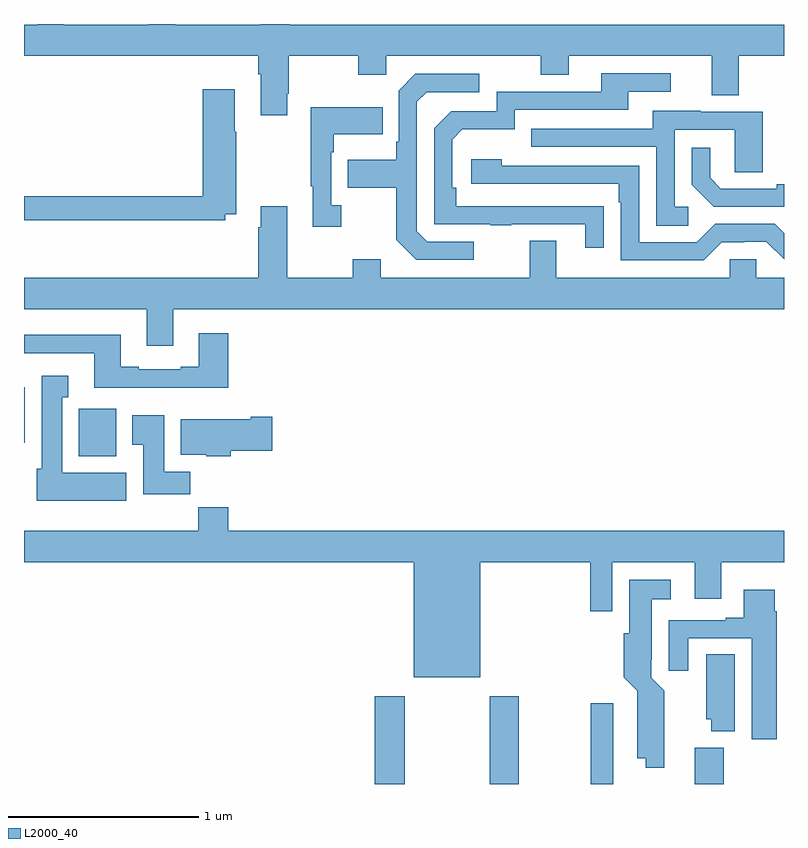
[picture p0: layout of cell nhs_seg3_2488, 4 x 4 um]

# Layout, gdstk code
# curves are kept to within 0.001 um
import gdstk
lib = gdstk.Library(unit=1e-6, precision=1e-09)
def R(c, l, rs):  # rectangles x0, y0, x1, y1
    for r in rs: c.add(gdstk.rectangle(r[:2], r[2:], *l))
def P(c, l, *ps):  # polygons
    for p in ps: c.add(gdstk.Polygon(p, *l))
L2000_40 = (2000, 40)

nhs_seg3_2488 = lib.new_cell('nhs_seg3_2488')
R(nhs_seg3_2488, L2000_40, [(240.845,714.4,241.005,714.862), (241.45,714.4,241.605,714.862), (241.984,714.4,242.101,714.826), (242.531,714.4,242.684,714.592), (239.289,716.126,239.485,716.376), (239,716.196,239.005,716.488)])
P(nhs_seg3_2488, L2000_40, [(240.245,718.396),(239.797,718.396),(239.797,718.4),(239.657,718.4),(239.657,718.396),(239.209,718.396),(239.209,718.4),(239.069,718.4),(239.069,718.396),(239,718.396),(239,718.232),(240.233,718.232),(240.233,718.136),(240.245,718.136),(240.245,717.921),(240.385,717.921),(240.385,718.033),(240.393,718.033),(240.393,718.232),(240.76,718.232),(240.76,718.133),(240.906,718.133),(240.906,718.232),(241.72,718.232),(241.72,718.133),(241.867,718.133),(241.867,718.232),(242.621,718.232),(242.621,718.024),(242.761,718.024),(242.761,718.232),(243,718.232),(243,718.396),(240.398,718.396),(240.398,718.4),(240.245,718.4)],
  [(242.051,717.44),(241.274,717.441),(241.274,717.538),(241.254,717.538),(241.254,717.792),(241.307,717.845),(241.584,717.845),(241.584,717.948),(242.179,717.948),(242.179,718.044),(242.404,718.044),(242.404,718.14),(242.039,718.14),(242.039,718.044),(241.488,718.044),(241.488,717.942),(241.248,717.942),(241.158,717.852),(241.158,717.345),(241.453,717.345),(241.453,717.34),(241.565,717.34),(241.565,717.345),(241.955,717.345),(241.955,717.222),(242.051,717.222)],
  [(241.366,717.255),(241.122,717.255),(241.068,717.309),(241.068,717.99),(241.119,718.041),(241.396,718.041),(241.396,718.137),(241.059,718.137),(240.972,718.05),(240.972,717.781),(240.96,717.781),(240.96,717.685),(240.703,717.685),(240.703,717.538),(240.96,717.538),(240.96,717.265),(241.065,717.159),(241.366,717.159)],
  [(240.06,717.398),(240.117,717.398),(240.117,717.833),(240.109,717.833),(240.109,718.057),(239.942,718.057),(239.942,717.494),(239,717.494),(239,717.366),(240.06,717.366)],
  [(240.67,717.446),(240.618,717.446),(240.618,717.725),(240.631,717.725),(240.631,717.821),(240.887,717.821),(240.887,717.961),(240.51,717.961),(240.51,717.545),(240.521,717.545),(240.521,717.333),(240.67,717.333)],
  [(242.497,717.438),(242.424,717.438),(242.424,717.843),(242.742,717.843),(242.742,717.619),(242.887,717.619),(242.887,717.939),(242.563,717.939),(242.563,717.943),(242.309,717.943),(242.309,717.849),(241.669,717.849),(241.669,717.753),(242.328,717.753),(242.328,717.337),(242.497,717.337)],
  [(243,717.557),(242.963,717.557),(242.963,717.534),(242.668,717.534),(242.611,717.591),(242.611,717.748),(242.514,717.748),(242.514,717.554),(242.63,717.438),(243,717.438)],
  [(242.673,717.252),(242.792,717.252),(242.792,717.255),(242.907,717.255),(243,717.162),(243,717.3),(242.952,717.348),(242.637,717.348),(242.541,717.252),(242.238,717.252),(242.238,717.654),(241.514,717.654),(241.514,717.688),(241.353,717.688),(241.353,717.558),(242.129,717.558),(242.129,717.461),(242.142,717.461),(242.142,717.156),(242.577,717.156)],
  [(239.785,716.9),(243,716.9),(243,717.064),(242.853,717.064),(242.853,717.162),(242.715,717.162),(242.715,717.064),(241.801,717.064),(241.801,717.259),(241.661,717.259),(241.661,717.064),(240.877,717.064),(240.877,717.163),(240.73,717.163),(240.73,717.064),(240.385,717.064),(240.385,717.442),(240.245,717.442),(240.245,717.329),(240.233,717.329),(240.233,717.064),(239,717.064),(239,716.9),(239.645,716.9),(239.645,716.706),(239.785,716.706)],
  [(240.074,716.773),(239.921,716.773),(239.921,716.596),(239.825,716.596),(239.825,716.583),(239.605,716.583),(239.605,716.596),(239.509,716.596),(239.509,716.764),(239,716.764),(239,716.667),(239.369,716.667),(239.369,716.486),(240.074,716.486)],
  [(239.539,716.038),(239.2,716.038),(239.2,716.435),(239.233,716.435),(239.233,716.548),(239.093,716.548),(239.093,716.058),(239.066,716.058),(239.066,715.892),(239.539,715.892)],
  [(239.876,716.044),(239.737,716.044),(239.737,716.341),(239.57,716.341),(239.57,716.185),(239.627,716.185),(239.627,715.926),(239.876,715.926)],
  [(240.089,716.155),(240.307,716.155),(240.307,716.333),(240.194,716.333),(240.194,716.32),(239.825,716.32),(239.825,716.132),(239.958,716.132),(239.958,716.126),(240.089,716.126)],
  [(241.402,715.568),(241.981,715.568),(241.981,715.308),(242.097,715.308),(242.097,715.568),(242.531,715.568),(242.531,715.374),(242.671,715.374),(242.671,715.568),(243,715.568),(243,715.732),(240.074,715.732),(240.074,715.856),(239.917,715.856),(239.917,715.732),(239,715.732),(239,715.568),(241.052,715.568),(241.052,714.962),(241.402,714.962)],
  [(242.37,714.788),(242.371,714.89),(242.301,714.96),(242.301,715.054),(242.305,715.054),(242.305,715.373),(242.404,715.373),(242.404,715.474),(242.186,715.474),(242.186,715.194),(242.156,715.194),(242.156,714.962),(242.228,714.89),(242.228,714.536),(242.273,714.536),(242.273,714.485),(242.37,714.485)],
  [(242.963,715.31),(242.95,715.31),(242.95,715.423),(242.789,715.423),(242.789,715.276),(242.693,715.276),(242.693,715.263),(242.393,715.263),(242.393,714.996),(242.497,714.996),(242.497,715.167),(242.831,715.167),(242.831,714.636),(242.963,714.636)],
  [(242.74,715.082),(242.591,715.082),(242.591,714.741),(242.618,714.741),(242.618,714.677),(242.74,714.677)])

lib.write_gds('nhs_seg3_2488.gds')
